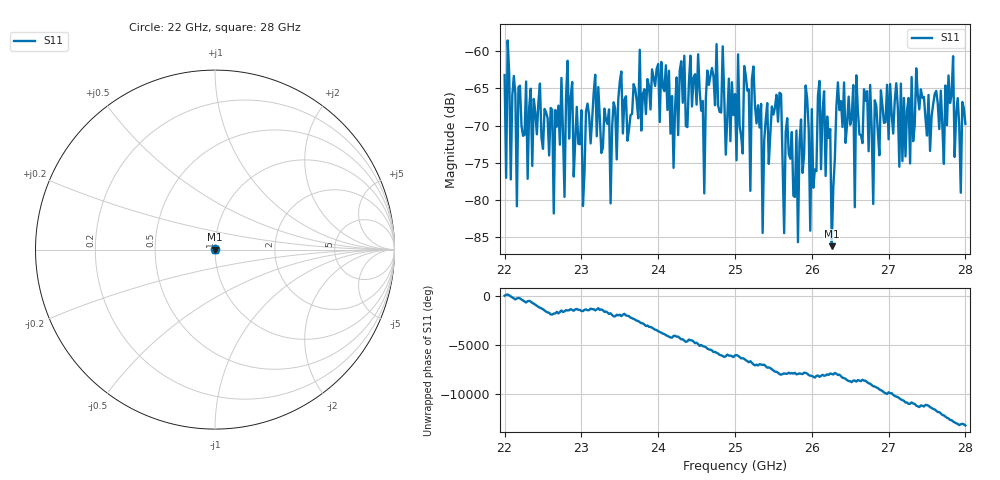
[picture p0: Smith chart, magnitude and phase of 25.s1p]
#  HZ  S  RI  R  50.00
! Rohde & Schwarz ZVA40 4Ports - Version 3.90 - 1145.1110k42 SN: 100403
! Date: 2023-10-04 09:32:01
! Measurement: S12
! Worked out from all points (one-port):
!   301 points, 22 GHz to 28 GHz, reference 50 ohm
!   lowest |S11| = -86.3 dB at 26.26 GHz (marker M1), VSWR 1.00, Z = 50 - j0.00226 ohm
!   |S11| at or under -10 dB: start of sweep to end of sweep
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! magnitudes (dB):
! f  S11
! 22 GHz  -63.2
! 22.02 GHz  -77.1
! 22.04 GHz  -58.5
! 22.08 GHz  -77.3
! 22.12 GHz  -63.3
! 22.16 GHz  -80.9
! 22.18 GHz  -64.8
! 22.76 GHz  -70.9
! 22.78 GHz  -79.6
! 22.82 GHz  -61.3
! 23.02 GHz  -80.9
! 23.18 GHz  -63.2
! 23.38 GHz  -80.5
! 23.5 GHz  -64.1
! 24.26 GHz  -71.3
! 25 GHz  -65.8
! 25.76 GHz  -79.5
! 26.1 GHz  -64.0
! 26.26 GHz  -86.3
! 26.34 GHz  -64.2
! 26.5 GHz  -69.9
! 26.56 GHz  -81.0
! 26.58 GHz  -63.2
! 26.76 GHz  -64.5
! 26.8 GHz  -80.6
! 26.82 GHz  -66.6
! 27.26 GHz  -66.3
! 28 GHz  -69.8
